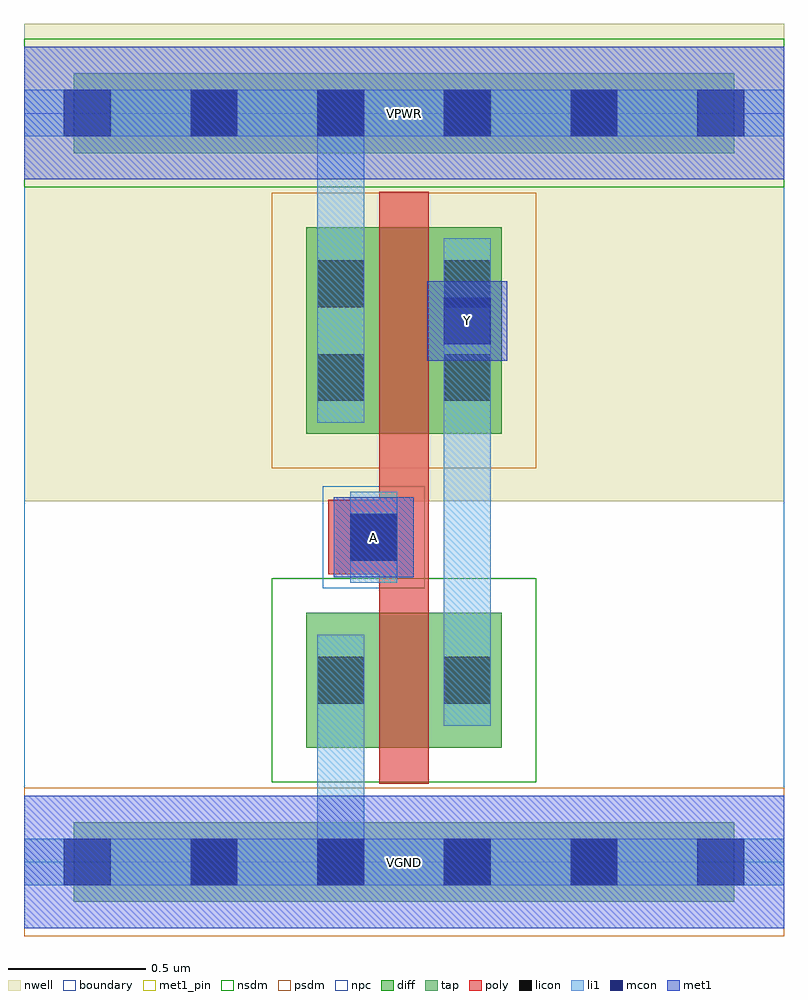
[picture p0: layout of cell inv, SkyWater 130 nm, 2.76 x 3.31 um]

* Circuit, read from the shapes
.subckt inv A VGND VPWR Y
XM1 Y A VGND VGND sky130_fd_pr__nfet_01v8 w=0.49 l=0.18
XM2 Y A VPWR VPWR sky130_fd_pr__pfet_01v8 w=0.75 l=0.18
.ends

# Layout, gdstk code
import gdstk
lib = gdstk.Library(unit=1e-6, precision=1e-09)
def R(c, l, rs):  # rectangles x0, y0, x1, y1
    for r in rs: c.add(gdstk.rectangle(r[:2], r[2:], *l))
def A(c, l, x, y, w, h, nx, ny, dx, dy):  # array of equal rectangles
    R(c, l, [(x+i*dx, y+j*dy, x+i*dx+w, y+j*dy+h) for i in range(nx) for j in range(ny)])
nwell = (64, 20)
diff = (65, 20)
tap = (65, 44)
poly = (66, 20)
licon = (66, 44)
li1 = (67, 20)
mcon = (67, 44)
met1_pin = (68, 16)
met1 = (68, 20)
nsdm = (93, 44)
psdm = (94, 20)
npc = (95, 20)
boundary = (235, 4)

inv = lib.new_cell('inv')
R(inv, nwell, [(0,1.31,2.76,3.045)])
R(inv, diff, [(1.025,0.415,1.735,0.905), (1.025,1.555,1.735,2.305)])
R(inv, tap, [(0.18,-0.145,2.58,0.145), (0.18,2.575,2.58,2.865)])
R(inv, poly, [(1.29,0.285,1.47,2.435), (1.105,1.045,1.435,1.315)])
A(inv, licon, 0.605, -0.085, 0.17, 0.17, 4, 2, 0.46, 2.72)
R(inv, licon, [(1.065,0.575,1.235,0.745), (1.525,0.575,1.695,0.745), (1.185,1.095,1.355,1.265), (1.065,1.675,1.235,1.845), (1.525,1.675,1.695,1.845), (1.065,2.015,1.235,2.185), (1.525,2.015,1.695,2.185)])
R(inv, li1, [(0,-0.085,2.76,0.085), (1.065,-0.085,1.235,0.825), (1.065,0.495,1.235,0.825), (1.525,0.495,1.695,0.825), (1.525,0.495,1.695,2.265), (1.185,1.015,1.355,1.345), (1.065,1.595,1.235,2.265), (1.065,1.595,1.235,2.805), (1.525,1.595,1.695,2.265), (0,2.635,2.76,2.805)])
A(inv, mcon, 0.145, -0.085, 0.17, 0.17, 6, 2, 0.46, 2.72)
R(inv, mcon, [(1.185,1.095,1.355,1.265), (1.525,1.88,1.695,2.05)])
R(inv, met1_pin, [(0,-0.24,2.76,0.24), (1.125,1.035,1.415,1.325), (1.465,1.82,1.755,2.11), (0,2.48,2.76,2.96)])
R(inv, met1, [(0,-0.24,2.76,0.24), (1.125,1.035,1.415,1.325), (1.465,1.82,1.755,2.11), (0,2.48,2.76,2.96)])
R(inv, nsdm, [(0.9,0.29,1.86,1.03), (0,2.45,2.76,2.99)])
R(inv, psdm, [(0,-0.27,2.76,0.27), (0.9,1.43,1.86,2.43)])
R(inv, npc, [(1.085,0.995,1.455,1.365)])
R(inv, boundary, [(0,0,2.76,2.72)])
inv.add(gdstk.Label('A', (1.27,1.18), layer=68, texttype=5))
inv.add(gdstk.Label('Y', (1.61,1.965), layer=68, texttype=5))
inv.add(gdstk.Label('VPWR', (1.38,2.72), layer=68, texttype=5))
inv.add(gdstk.Label('VGND', (1.38,0), layer=68, texttype=5))
inv.add(gdstk.Label('A', (1.27,1.18), layer=68, texttype=16))
inv.add(gdstk.Label('Y', (1.61,1.965), layer=68, texttype=16))
inv.add(gdstk.Label('VPWR', (1.38,2.72), layer=68, texttype=16))
inv.add(gdstk.Label('VGND', (1.38,0), layer=68, texttype=16))

lib.write_gds('inv.gds')
